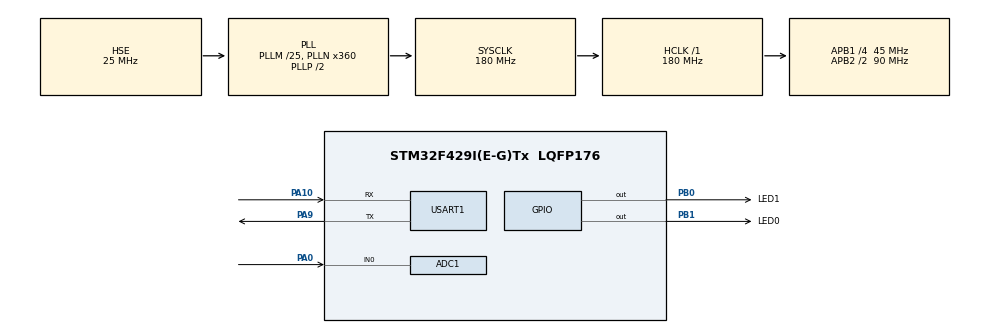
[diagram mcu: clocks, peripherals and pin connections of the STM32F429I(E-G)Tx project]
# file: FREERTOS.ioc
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ADC1.Channel-0\#ChannelRegularConversion=ADC_CHANNEL_0
ADC1.NbrOfConversionFlag=1
ADC1.Rank-0\#ChannelRegularConversion=1
ADC1.SamplingTime-0\#ChannelRegularConversion=ADC_SAMPLETIME_3CYCLES
ADC1.master=1
FREERTOS.Queues01=myQueue01,16,uint16_t,0,Dynamic,NULL,NULL
FREERTOS.Tasks01=defaultTask,24,128,StartDefaultTask,Default,NULL,Dynamic,NULL,NULL;Task_LED0,8,128,Start_led1_Task,Default,NULL,Dynamic,NULL,NULL;Task_LED1,8,128,Start_led1_Task,Default,NULL,Dynamic,NULL,NULL;Task_ADC,8,128,Start_adc_Task,Default,NULL,Dynamic,NULL,NULL;Task_USART,8,128,Start_usart_Task,Default,NULL,Dynamic,NULL,NULL
Mcu.Family=STM32F4
Mcu.Name=STM32F429I(E-G)Tx
Mcu.Package=LQFP176
NVIC.PriorityGroup=NVIC_PRIORITYGROUP_4
NVIC.TIM1_UP_TIM10_IRQn=true\:15\:0\:false\:false\:true\:false\:false\:true\:true
NVIC.TimeBase=TIM1_UP_TIM10_IRQn
NVIC.TimeBaseIP=TIM1
NVIC.USART1_IRQn=true\:5\:0\:false\:false\:true\:true\:true\:true\:true
PA0/WKUP.Signal=ADCx_IN0
PA10.Mode=Asynchronous
PA10.Signal=USART1_RX
PA13.Mode=Serial_Wire
PA13.Signal=SYS_JTMS-SWDIO
PA14.Mode=Serial_Wire
PA14.Signal=SYS_JTCK-SWCLK
PA9.Mode=Asynchronous
PA9.Signal=USART1_TX
PB0.GPIO_Label=LED1
PB0.Signal=GPIO_Output
PB1.GPIO_Label=LED0
PB1.Signal=GPIO_Output
PH0/OSC_IN.Mode=HSE-External-Oscillator
PH0/OSC_IN.Signal=RCC_OSC_IN
PH1/OSC_OUT.Mode=HSE-External-Oscillator
PH1/OSC_OUT.Signal=RCC_OSC_OUT
ProjectManager.HeapSize=0x200
ProjectManager.StackSize=0x400
ProjectManager.TargetToolchain=MDK-ARM V5.32
RCC.48MHZClocksFreq_Value=90000000
RCC.AHBFreq_Value=180000000
RCC.APB1CLKDivider=RCC_HCLK_DIV4
RCC.APB1Freq_Value=45000000
RCC.APB1TimFreq_Value=90000000
RCC.APB2CLKDivider=RCC_HCLK_DIV2
RCC.APB2Freq_Value=90000000
RCC.APB2TimFreq_Value=180000000
RCC.CortexFreq_Value=180000000
RCC.HCLKFreq_Value=180000000
RCC.HSE_VALUE=25000000
RCC.HSI_VALUE=16000000
RCC.LSE_VALUE=32768
RCC.PLLM=25
RCC.PLLN=360
RCC.PLLSourceVirtual=RCC_PLLSOURCE_HSE
RCC.SYSCLKFreq_VALUE=180000000
RCC.SYSCLKSource=RCC_SYSCLKSOURCE_PLLCLK
RCC.VCOOutputFreq_Value=360000000
SH.ADCx_IN0.0=ADC1_IN0,IN0
TIM3.Period=999
TIM3.Prescaler=179
USART1.VirtualMode=VM_ASYNC
VP_FREERTOS_VS_CMSIS_V2.Mode=CMSIS_V2
VP_SYS_VS_tim1.Mode=TIM1
VP_TIM3_VS_ClockSourceINT.Mode=Internal
board=custom

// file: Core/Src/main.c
/* USER CODE BEGIN Header */
/**
  ******************************************************************************
  * @file           : main.c
  * @brief          : Main program body
  ******************************************************************************
  * @attention
  *
  * Copyright (c) 2025 STMicroelectronics.
  * All rights reserved.
  *
  * This software is licensed under terms that can be found in the LICENSE file
  * in the root directory of this software component.
  * If no LICENSE file comes with this software, it is provided AS-IS.
  *
  ******************************************************************************
  */
/* USER CODE END Header */
#include "main.h"
#include "cmsis_os.h"
#include "adc.h"
#include "tim.h"
#include "usart.h"
#include "gpio.h"

void SystemClock_Config(void);
void MX_FREERTOS_Init(void);

int main(void)
{

  /* MCU Configuration--------------------------------------------------------*/

  /* Reset of all peripherals, Initializes the Flash interface and the Systick. */
  HAL_Init();

  /* Configure the system clock */
  SystemClock_Config();

  /* Initialize all configured peripherals */
  MX_GPIO_Init();
  MX_ADC1_Init();
  MX_TIM3_Init();
  MX_USART1_UART_Init();

  /* Init scheduler */
  osKernelInitialize();  /* Call init function for freertos objects (in cmsis_os2.c) */
  MX_FREERTOS_Init();

  /* Start scheduler */
  osKernelStart();

  /* We should never get here as control is now taken by the scheduler */

  /* Infinite loop */
  while (1)
  {

  }
}

void SystemClock_Config(void)
{
  RCC_OscInitTypeDef RCC_OscInitStruct = {0};
  RCC_ClkInitTypeDef RCC_ClkInitStruct = {0};

  /** Configure the main internal regulator output voltage
  */
  __HAL_RCC_PWR_CLK_ENABLE();
  __HAL_PWR_VOLTAGESCALING_CONFIG(PWR_REGULATOR_VOLTAGE_SCALE1);

  /** Initializes the RCC Oscillators according to the specified parameters
  * in the RCC_OscInitTypeDef structure.
  */
  RCC_OscInitStruct.OscillatorType = RCC_OSCILLATORTYPE_HSE;
  RCC_OscInitStruct.HSEState = RCC_HSE_ON;
  RCC_OscInitStruct.PLL.PLLState = RCC_PLL_ON;
  RCC_OscInitStruct.PLL.PLLSource = RCC_PLLSOURCE_HSE;
  RCC_OscInitStruct.PLL.PLLM = 25;
  RCC_OscInitStruct.PLL.PLLN = 360;
  RCC_OscInitStruct.PLL.PLLP = RCC_PLLP_DIV2;
  RCC_OscInitStruct.PLL.PLLQ = 4;
  if (HAL_RCC_OscConfig(&RCC_OscInitStruct) != HAL_OK)
  {
    Error_Handler();
  }

  /** Activate the Over-Drive mode
  */
  if (HAL_PWREx_EnableOverDrive() != HAL_OK)
  {
    Error_Handler();
  }

  /** Initializes the CPU, AHB and APB buses clocks
  */
  RCC_ClkInitStruct.ClockType = RCC_CLOCKTYPE_HCLK|RCC_CLOCKTYPE_SYSCLK
                              |RCC_CLOCKTYPE_PCLK1|RCC_CLOCKTYPE_PCLK2;
  RCC_ClkInitStruct.SYSCLKSource = RCC_SYSCLKSOURCE_PLLCLK;
  RCC_ClkInitStruct.AHBCLKDivider = RCC_SYSCLK_DIV1;
  RCC_ClkInitStruct.APB1CLKDivider = RCC_HCLK_DIV4;
  RCC_ClkInitStruct.APB2CLKDivider = RCC_HCLK_DIV2;

  if (HAL_RCC_ClockConfig(&RCC_ClkInitStruct, FLASH_LATENCY_5) != HAL_OK)
  {
    Error_Handler();
  }
}

void HAL_TIM_PeriodElapsedCallback(TIM_HandleTypeDef *htim)
{
  if (htim->Instance == TIM1)
  {
    HAL_IncTick();
  }
}

void Error_Handler(void)
{
  __disable_irq();
  while (1)
  {
  }
}

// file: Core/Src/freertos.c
/* USER CODE BEGIN Header */
/**
  ******************************************************************************
  * File Name          : freertos.c
  * Description        : Code for freertos applications
  ******************************************************************************
  * @attention
  *
  * Copyright (c) 2025 STMicroelectronics.
  * All rights reserved.
  *
  * This software is licensed under terms that can be found in the LICENSE file
  * in the root directory of this software component.
  * If no LICENSE file comes with this software, it is provided AS-IS.
  *
  ******************************************************************************
  */
/* USER CODE END Header */

#include "FreeRTOS.h"
#include "task.h"
#include "main.h"
#include "cmsis_os.h"

/* USER CODE BEGIN Includes */
#include "adc.h"
#include "usart.h"
#include "stdio.h"
#include "string.h"
/* USER CODE END Includes */

/* USER CODE BEGIN PTD */
#define MEDIAN_SIZE 11  // 建议奇数（3/5/7）
/* USER CODE END PTD */

/* Definitions for defaultTask */
osThreadId_t defaultTaskHandle;
const osThreadAttr_t defaultTask_attributes = {
  .name = "defaultTask",
  .stack_size = 128 * 4,
  .priority = (osPriority_t) osPriorityNormal,
};
/* Definitions for Task_LED0 */
osThreadId_t Task_LED0Handle;
const osThreadAttr_t Task_LED0_attributes = {
  .name = "Task_LED0",
  .stack_size = 128 * 4,
  .priority = (osPriority_t) osPriorityLow,
};
/* Definitions for Task_LED1 */
osThreadId_t Task_LED1Handle;
const osThreadAttr_t Task_LED1_attributes = {
  .name = "Task_LED1",
  .stack_size = 128 * 4,
  .priority = (osPriority_t) osPriorityLow,
};
/* Definitions for Task_ADC */
osThreadId_t Task_ADCHandle;
const osThreadAttr_t Task_ADC_attributes = {
  .name = "Task_ADC",
  .stack_size = 128 * 4,
  .priority = (osPriority_t) osPriorityLow,
};
/* Definitions for Task_USART */
osThreadId_t Task_USARTHandle;
const osThreadAttr_t Task_USART_attributes = {
  .name = "Task_USART",
  .stack_size = 128 * 4,
  .priority = (osPriority_t) osPriorityLow,
};
/* Definitions for myQueue01 */
osMessageQueueId_t myQueue01Handle;
const osMessageQueueAttr_t myQueue01_attributes = {
  .name = "myQueue01"
};

void StartDefaultTask(void *argument);
void Start_led1_Task(void *argument);
void Start_adc_Task(void *argument);
void Start_usart_Task(void *argument);

void MX_FREERTOS_Init(void); /* (MISRA C 2004 rule 8.1) */

void MX_FREERTOS_Init(void) {

  /* Create the queue(s) */
  /* creation of myQueue01 */
  myQueue01Handle = osMessageQueueNew (16, sizeof(uint16_t), &myQueue01_attributes);

  /* Create the thread(s) */
  /* creation of defaultTask */
  defaultTaskHandle = osThreadNew(StartDefaultTask, NULL, &defaultTask_attributes);

  /* creation of Task_LED0 */
  Task_LED0Handle = osThreadNew(Start_led1_Task, NULL, &Task_LED0_attributes);

  /* creation of Task_LED1 */
  Task_LED1Handle = osThreadNew(Start_led1_Task, NULL, &Task_LED1_attributes);

  /* creation of Task_ADC */
  Task_ADCHandle = osThreadNew(Start_adc_Task, NULL, &Task_ADC_attributes);

  /* creation of Task_USART */
  Task_USARTHandle = osThreadNew(Start_usart_Task, NULL, &Task_USART_attributes);

}

void StartDefaultTask(void *argument)
{
  for(;;)
  {
    osDelay(1);
  }
}

void Start_led1_Task(void *argument)
{
  for(;;)
  {
    osDelay(1);
  }
}

void Start_adc_Task(void *argument)
{
  /* USER CODE BEGIN Start_adc_Task */
  float adc_v = 0.f;
	float current = 0.f;
	float z_adc_v = 0.f;
	float z_current = 0.f;
		float adc_buffer[MEDIAN_SIZE] = {0};
    uint8_t adc_index = 0;
    float tempBuffer[MEDIAN_SIZE];
	char buffer[20] = {0};
  /* Infinite loop */
  for(;;)
  {
		HAL_ADC_Start(&hadc1);
		if(HAL_ADC_PollForConversion (&hadc1 , 30) == HAL_OK)
		{
			adc_v = HAL_ADC_GetValue(&hadc1) / 4095.f * 3.3;
		}
		HAL_ADC_Start(&hadc1);
		current = (adc_v - 2.475)/0.066 ;

		snprintf(buffer, 20, "V: %.2f\t", adc_v);
		HAL_UART_Transmit(&huart1, (uint8_t *)buffer, 20, 10);
		snprintf(buffer, 20, "I: %.2f\t", current);
		HAL_UART_Transmit(&huart1, (uint8_t *)buffer, 20, 10);

		adc_buffer[adc_index++] = adc_v;
    adc_index %= MEDIAN_SIZE;

    // 复制并排序
    memcpy(tempBuffer, adc_buffer, sizeof(adc_buffer));
    for (int i = 0; i < MEDIAN_SIZE - 1; i++) {
        for (int j = i + 1; j < MEDIAN_SIZE; j++) {
            if (tempBuffer[i] > tempBuffer[j]) {
                float temp = tempBuffer[i];
                tempBuffer[i] = tempBuffer[j];
                tempBuffer[j] = temp;
            }
        }
    }

		if(adc_index >= MEDIAN_SIZE)
		{
			z_adc_v = tempBuffer[(MEDIAN_SIZE+1) / 2];  // 返回中位数
			z_current = (z_adc_v - 2.475)/0.066 ;
		}

		snprintf(buffer, 20, "zV:\t%.2f\t", z_adc_v);
		HAL_UART_Transmit(&huart1, (uint8_t *)buffer, 20, 10);
		snprintf(buffer, 20, "zI:\t%.2f\n", z_current);
		HAL_UART_Transmit(&huart1, (uint8_t *)buffer, 20, 10);
    osDelay(10);
  }
  /* USER CODE END Start_adc_Task */
}

void Start_usart_Task(void *argument)
{
  /* USER CODE BEGIN Start_usart_Task */
  uint8_t Txdata[20] = "transmit !!!\n";
  /* Infinite loop */
  for(;;)
  {
		//HAL_UART_Transmit(&huart1, Txdata, 20, 10);
    osDelay(1);
  }
  /* USER CODE END Start_usart_Task */
}
